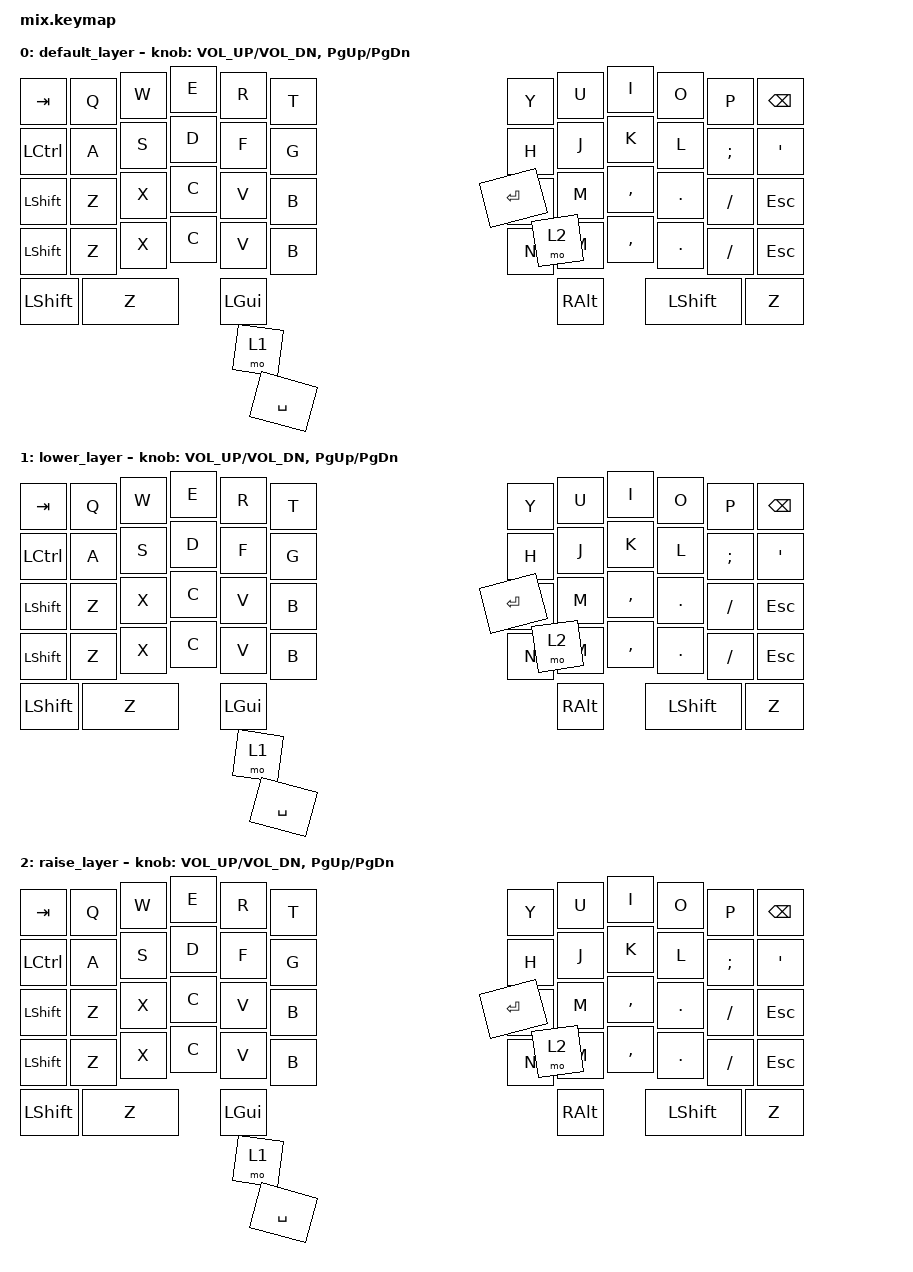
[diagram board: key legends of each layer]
/*
 * Copyright (c) 2020 The ZMK Contributors
 *
 * SPDX-License-Identifier: MIT
 */

#include <behaviors.dtsi>
#include <dt-bindings/zmk/keys.h>
#include <dt-bindings/zmk/bt.h>

#include <dt-bindings/zmk/outputs.h>
#include <zephyr/dt-bindings/input/input-event-codes.h>
#include <input/processors.dtsi>
#include <dt-bindings/zmk/input_transform.h>
#include <dt-bindings/zmk/ext_power.h>
#include <dt-bindings/zmk/pointing.h>

/ {
    glidepoint_listener: glidepoint_listener {
        compatible = "zmk,input-listener";
        status = "disabled";
    };
};

/ {
        keymap {
                compatible = "zmk,keymap";

                default_layer {

                        bindings = <
   &kp TAB   &kp Q &kp W &kp E &kp R &kp T                       &kp Y &kp U  &kp I     &kp O   &kp P    &kp BSPC
   &kp LCTRL &kp A &kp S &kp D &kp F &kp G                        &kp H &kp J  &kp K     &kp L   &kp SEMI &kp SQT
   &kp LSHFT &kp Z &kp X &kp C &kp V &kp B                        &kp N &kp M  &kp COMMA &kp DOT &kp FSLH &kp ESC
   &kp LSHFT &kp Z &kp X &kp C &kp V &kp B                        &kp N &kp M  &kp COMMA &kp DOT &kp FSLH &kp ESC
   &kp LSHFT &kp Z           &kp LGUI &mo 1 &kp SPACE     &kp RET &mo 2 &kp RALT                 &kp LSHFT &kp Z
                        >;
                        sensor-bindings = <&inc_dec_kp C_VOL_UP C_VOL_DN &inc_dec_kp PG_UP PG_DN>;
                };
                lower_layer {

                        bindings = <
   &kp TAB   &kp Q &kp W &kp E &kp R &kp T                       &kp Y &kp U  &kp I     &kp O   &kp P    &kp BSPC
   &kp LCTRL &kp A &kp S &kp D &kp F &kp G                        &kp H &kp J  &kp K     &kp L   &kp SEMI &kp SQT
   &kp LSHFT &kp Z &kp X &kp C &kp V &kp B                        &kp N &kp M  &kp COMMA &kp DOT &kp FSLH &kp ESC
   &kp LSHFT &kp Z &kp X &kp C &kp V &kp B                        &kp N &kp M  &kp COMMA &kp DOT &kp FSLH &kp ESC
   &kp LSHFT &kp Z           &kp LGUI &mo 1 &kp SPACE     &kp RET &mo 2 &kp RALT                 &kp LSHFT &kp Z
                        >;
                        sensor-bindings = <&inc_dec_kp C_VOL_UP C_VOL_DN &inc_dec_kp PG_UP PG_DN>;
                };

                raise_layer {

                       bindings = <
   &kp TAB   &kp Q &kp W &kp E &kp R &kp T                       &kp Y &kp U  &kp I     &kp O   &kp P    &kp BSPC
   &kp LCTRL &kp A &kp S &kp D &kp F &kp G                        &kp H &kp J  &kp K     &kp L   &kp SEMI &kp SQT
   &kp LSHFT &kp Z &kp X &kp C &kp V &kp B                        &kp N &kp M  &kp COMMA &kp DOT &kp FSLH &kp ESC
   &kp LSHFT &kp Z &kp X &kp C &kp V &kp B                        &kp N &kp M  &kp COMMA &kp DOT &kp FSLH &kp ESC
   &kp LSHFT &kp Z           &kp LGUI &mo 1 &kp SPACE     &kp RET &mo 2 &kp RALT                 &kp LSHFT &kp Z
                        >;
                        sensor-bindings = <&inc_dec_kp C_VOL_UP C_VOL_DN &inc_dec_kp PG_UP PG_DN>;
                };
        };
};
